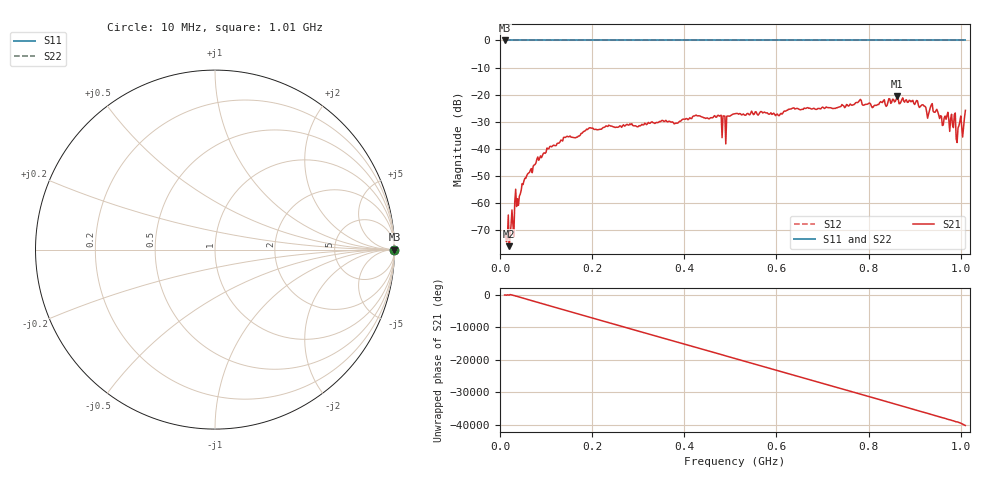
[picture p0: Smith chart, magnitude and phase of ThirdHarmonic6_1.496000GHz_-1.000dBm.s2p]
! 8/16/2025 5:33:25 PM
! C:\ANRITSUVNA\TEMP\TEMP.S2P
! CHANNEL.1
! TR.MEASUREMENT
! RAW.DATA
! RF.CORRECTION.OFF
! AVERAGING.OFF
! IF.BANDWIDTH: 5KHZ
! SWEEPTYPE:  FREQ.SWEEP(Linear)
! Reference Plane Port Info
! PORT:  PORT1  PORT2
! DISTANCE:  0  m  0  m
! TIME:  0  s  0  s
! PHASE.OFFSET:  0  deg.  0  deg.
! LOSS:  0  dB  0  dB
! REF.LOSS:  0  dB  0  dB
! REF.FREQ:  0  Hz  0  Hz
! Power Info
! POWER:  -20  dBm  -20  dBm
! EFF.POWER:  -20  dBm  -20  dBm
! SOURCE.ATTEN:  0  dB  0  dB
! TEST.ATTEN:  0  dB  0  dB
# GHZ S RI R 50.0
! FREQ.GHZ  S11RE  S11IM  S21RE  S21IM  S12RE  S12IM  S22RE  S22IM
!; PortSelection: Port_12
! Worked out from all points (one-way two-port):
!   501 points, 10 MHz to 1.01 GHz, reference 50 ohm
!   highest |S21| = -20.62 dB at 862 MHz (marker M1); lowest = -75.9 dB at 20 MHz (marker M2)
!   lowest |S11| = 0.0 dB at 10 MHz (marker M3)
!   |S11| at or under -10 dB: nowhere
!   |S22| runs from 0.0 to 0.0 dB; largest |S21 - S12| = 1.1
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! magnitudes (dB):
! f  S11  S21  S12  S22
! 10 MHz  0.0  -71.8  0.0  0.0
! 20 MHz  0.0  -75.9  0.0  0.0
! 26 MHz  0.0  -62.6  0.0  0.0
! 36 MHz  0.0  -61.3  0.0  0.0
! 78 MHz  0.0  -45.2  0.0  0.0
! 142 MHz  0.0  -35.8  0.0  0.0
! 178 MHz  0.0  -34.2  0.0  0.0
! 344 MHz  0.0  -30.2  0.0  0.0
! 476 MHz  0.0  -27.9  0.0  0.0
! 486 MHz  0.0  -27.9  0.0  0.0
! 496 MHz  0.0  -27.9  0.0  0.0
! 510 MHz  0.0  -27.1  0.0  0.0
! 678 MHz  0.0  -25.3  0.0  0.0
! 844 MHz  0.0  -21.5  0.0  0.0
! 862 MHz  0.0  -20.6  0.0  0.0
! 904 MHz  0.0  -22.2  0.0  0.0
! 928 MHz  0.0  -28.7  0.0  0.0
! 938 MHz  0.0  -23.3  0.0  0.0
! 958 MHz  0.0  -28.0  0.0  0.0
! 984 MHz  0.0  -32.2  0.0  0.0
! 994 MHz  0.0  -32.3  0.0  0.0
! 1.01 GHz  0.0  -25.8  0.0  0.0
